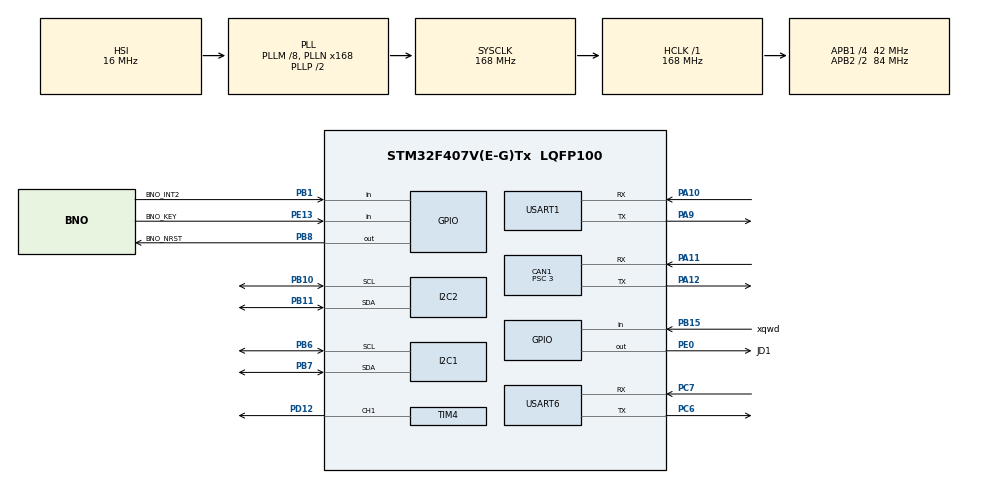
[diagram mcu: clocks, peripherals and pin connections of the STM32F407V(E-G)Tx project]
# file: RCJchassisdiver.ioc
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CAN1.BS1=CAN_BS1_11TQ
CAN1.BS2=CAN_BS2_2TQ
CAN1.CalculateBaudRate=1000000
CAN1.CalculateTimeBit=1000
CAN1.CalculateTimeQuantum=71.42857142857143
CAN1.Prescaler=3
I2C1.I2C_Mode=I2C_Fast
Mcu.Family=STM32F4
Mcu.Name=STM32F407V(E-G)Tx
Mcu.Package=LQFP100
NVIC.CAN1_RX0_IRQn=true\:0\:0\:false\:false\:true\:true\:true\:true
NVIC.I2C1_ER_IRQn=true\:0\:0\:false\:false\:true\:true\:true\:true
NVIC.I2C1_EV_IRQn=true\:0\:0\:false\:false\:true\:true\:true\:true
NVIC.PriorityGroup=NVIC_PRIORITYGROUP_4
NVIC.USART1_IRQn=true\:0\:0\:false\:false\:true\:true\:true\:true
NVIC.USART6_IRQn=true\:0\:0\:false\:false\:true\:true\:true\:true
PA10.Mode=Asynchronous
PA10.Signal=USART1_RX
PA11.Mode=CAN_Activate
PA11.Signal=CAN1_RX
PA12.Mode=CAN_Activate
PA12.Signal=CAN1_TX
PA13.Mode=Serial_Wire
PA13.Signal=SYS_JTMS-SWDIO
PA14.Mode=Serial_Wire
PA14.Signal=SYS_JTCK-SWCLK
PA9.Mode=Asynchronous
PA9.Signal=USART1_TX
PB1.GPIO_Label=BNO_INT2
PB1.Signal=GPIO_Input
PB10.Mode=I2C
PB10.Signal=I2C2_SCL
PB11.Mode=I2C
PB11.Signal=I2C2_SDA
PB15.GPIO_Label=xqwd
PB15.GPIO_PuPd=GPIO_PULLUP
PB15.Signal=GPIO_Input
PB6.Mode=I2C
PB6.Signal=I2C1_SCL
PB7.Mode=I2C
PB7.Signal=I2C1_SDA
PB8.GPIO_Label=BNO_NRST
PB8.Signal=GPIO_Output
PC6.Mode=Asynchronous
PC6.Signal=USART6_TX
PC7.Mode=Asynchronous
PC7.Signal=USART6_RX
PD12.Signal=S_TIM4_CH1
PE0.GPIO_Label=JD1
PE0.Signal=GPIO_Output
PE13.GPIO_Label=BNO_KEY
PE13.GPIO_PuPd=GPIO_PULLUP
PE13.Signal=GPIO_Input
PH0-OSC_IN.Mode=HSE-External-Oscillator
PH0-OSC_IN.Signal=RCC_OSC_IN
PH1-OSC_OUT.Mode=HSE-External-Oscillator
PH1-OSC_OUT.Signal=RCC_OSC_OUT
ProjectManager.HeapSize=0x200
ProjectManager.StackSize=0x400
ProjectManager.TargetToolchain=CMake
RCC.48MHZClocksFreq_Value=84000000
RCC.AHBFreq_Value=168000000
RCC.APB1CLKDivider=RCC_HCLK_DIV4
RCC.APB1Freq_Value=42000000
RCC.APB1TimFreq_Value=84000000
RCC.APB2CLKDivider=RCC_HCLK_DIV2
RCC.APB2Freq_Value=84000000
RCC.APB2TimFreq_Value=168000000
RCC.CortexFreq_Value=168000000
RCC.HCLKFreq_Value=168000000
RCC.HSE_VALUE=8000000
RCC.HSI_VALUE=16000000
RCC.LSE_VALUE=32768
RCC.PLLM=8
RCC.PLLN=168
RCC.SYSCLKFreq_VALUE=168000000
RCC.SYSCLKSource=RCC_SYSCLKSOURCE_PLLCLK
RCC.VCOOutputFreq_Value=336000000
SH.S_TIM4_CH1.0=TIM4_CH1,PWM Generation1 CH1
TIM4.AutoReloadPreload=TIM_AUTORELOAD_PRELOAD_ENABLE
TIM4.Channel-PWM\ Generation1\ CH1=TIM_CHANNEL_1
TIM4.Period=19999
TIM4.Prescaler=83
USART1.VirtualMode=VM_ASYNC
USART6.VirtualMode=VM_ASYNC
VP_TIM4_VS_ClockSourceINT.Mode=Internal
board=custom

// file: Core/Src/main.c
/* USER CODE BEGIN Header */
/**
  ******************************************************************************
  * @file           : main.c
  * @brief          : Main program body
  ******************************************************************************
  * @attention
  *
  * Copyright (c) 2026 STMicroelectronics.
  * All rights reserved.
  *
  * This software is licensed under terms that can be found in the LICENSE file
  * in the root directory of this software component.
  * If no LICENSE file comes with this software, it is provided AS-IS.
  *
  ******************************************************************************
  */
/* USER CODE END Header */
#include "main.h"
#include "can.h"
#include "i2c.h"
#include "tim.h"
#include "usart.h"
#include "gpio.h"

/* USER CODE BEGIN Includes */
#include "bsp_usart.h"
#include "bsp_bno085.h"
#include "bsp_be1732.h"
#include "bsp_dct.h"
#include "bsp_kick_motor.h"
#include "bsp_motor.h"
#include "bsp_suction_detect.h"
#include "bsp_suction_motor.h"
#include "bsp_suction_motor_test.h"
#include "app_chassis_task.h"
#include "app_pi_comm.h"

/* USER CODE END Includes */

/* USER CODE BEGIN PD */
#ifndef MAIN_IMU_PRINT_ENABLE
#define MAIN_IMU_PRINT_ENABLE 0U
#endif

#ifndef MAIN_CHASSIS_YAW_TIMEOUT_MS
#define MAIN_CHASSIS_YAW_TIMEOUT_MS 300U
#endif

#ifndef MAIN_ZERO_KEY_DEBOUNCE_MS
#define MAIN_ZERO_KEY_DEBOUNCE_MS 30U
#endif

#ifndef MAIN_ZERO_KEY_LONG_PRESS_MS
#define MAIN_ZERO_KEY_LONG_PRESS_MS 1000U
#endif

#ifndef MAIN_LOOP_DELAY_MS
#define MAIN_LOOP_DELAY_MS 1U
#endif

#ifndef MAIN_DEBUG_USART
#define MAIN_DEBUG_USART BSP_USART_1
#endif

/* USER CODE END PD */

/* USER CODE BEGIN PV */
Bno085ProductId bno085_product_id;
Bno085RotationVector bno085_rotation_vector;
Bno085SensorData bno085_sensor_data;
Bno085I2cProbeResult bno085_probe_result;
uint8_t bno085_last_header[4];
float bno085_yaw_deg;
float bno085_gyro_z_deg_s;
uint8_t bno085_zero_key_sample;
uint8_t bno085_zero_key_stable;
uint8_t bno085_zero_key_long_handled;
uint8_t bno085_rotation_valid;
uint32_t bno085_last_print_tick;
uint32_t bno085_yaw_update_tick;
uint32_t bno085_gyro_update_tick;
uint32_t bno085_zero_key_debounce_tick;
uint32_t bno085_zero_key_press_tick;

/* USER CODE END PV */

void SystemClock_Config(void);

/* USER CODE BEGIN 0 */
HAL_StatusTypeDef Main_ResetYawZero(void)
{
  uint32_t now = HAL_GetTick();

  if (bno085_rotation_valid == 0U)
  {
    return HAL_BUSY;
  }

  if (Bno085_SetYawZero(&bno085_rotation_vector) != HAL_OK)
  {
    return HAL_ERROR;
  }

  if (Bno085_GetYawDegrees(&bno085_rotation_vector, &bno085_yaw_deg) != HAL_OK)
  {
    return HAL_ERROR;
  }

  bno085_yaw_update_tick = now;
  AppChassisTask_OnYawZero(bno085_yaw_deg);
  Printf(MAIN_DEBUG_USART, "imu_zero:1\n");

  return HAL_OK;
}

static void Main_HandleZeroKey(uint32_t now)
{
  uint8_t zero_key_pressed = Bno085_IsZeroKeyPressed();

  if (zero_key_pressed != bno085_zero_key_sample)
  {
    bno085_zero_key_sample = zero_key_pressed;
    bno085_zero_key_debounce_tick = now;
  }

  if ((now - bno085_zero_key_debounce_tick) < MAIN_ZERO_KEY_DEBOUNCE_MS)
  {
    return;
  }

  if (bno085_zero_key_stable == bno085_zero_key_sample)
  {
    if ((bno085_zero_key_stable != 0U) &&
        (bno085_zero_key_long_handled == 0U) &&
        ((now - bno085_zero_key_press_tick) >= MAIN_ZERO_KEY_LONG_PRESS_MS))
    {
      uint8_t next_enabled = (AppChassisTask_IsMotionEnabled() == 0U) ? 1U : 0U;
      (void)AppChassisTask_SetMotionEnabled(next_enabled);
      bno085_zero_key_long_handled = 1U;
    }
    return;
  }

  bno085_zero_key_stable = bno085_zero_key_sample;
  if (bno085_zero_key_stable != 0U)
  {
    bno085_zero_key_press_tick = now;
    bno085_zero_key_long_handled = 0U;
  }
  else
  {
    if ((bno085_zero_key_long_handled == 0U) &&
        (bno085_rotation_valid != 0U))
    {
      (void)Main_ResetYawZero();
    }
    bno085_zero_key_press_tick = 0U;
    bno085_zero_key_long_handled = 0U;
  }
}

/* USER CODE END 0 */

int main(void)
{

  /* MCU Configuration--------------------------------------------------------*/

  /* Reset of all peripherals, Initializes the Flash interface and the Systick. */
  HAL_Init();

  /* Configure the system clock */
  SystemClock_Config();

  /* Initialize all configured peripherals */
  MX_GPIO_Init();
  MX_CAN1_Init();
  MX_USART1_UART_Init();
  MX_USART6_UART_Init();
  MX_I2C1_Init();
  MX_TIM4_Init();
  MX_I2C2_Init();
  /* USER CODE BEGIN 2 */
  if (BspMotor_Init() != HAL_OK)
  {
    Error_Handler();
  }
  if (BspKickMotor_Init() != HAL_OK)
  {
    Error_Handler();
  }
  if (BspSuctionMotor_Init() != HAL_OK)
  {
    Error_Handler();
  }
  if (BspSuctionDetect_Init() != HAL_OK)
  {
    Error_Handler();
  }
  if (BspBe1732_Init() != HAL_OK)
  {
    Printf(BSP_USART_6, "BE1732 init failed i2cerr=0x%08lX\r\n",
           BspBe1732_GetLastI2cError());
  }
  if (BspDct_Init() != HAL_OK)
  {
    Error_Handler();
  }
  BspSuctionMotorTest_Init();
  AppChassisTask_Init();
  AppPiComm_Init();

  Printf(MAIN_DEBUG_USART, "BNO085 test start\r\n");
  if (Bno085_Init() == HAL_OK)
  {
    if (Bno085_GetProductId(&bno085_product_id) == HAL_OK)
    {
      Printf(MAIN_DEBUG_USART, "BNO085 addr=0x%02X sw=%u.%u.%u build=%lu part=%lu\r\n",
             bno085_product_id.i2c_addr,
             bno085_product_id.sw_major,
             bno085_product_id.sw_minor,
             bno085_product_id.sw_patch,
             bno085_product_id.sw_build_number,
             bno085_product_id.sw_part_number);
    }

    if (Bno085_EnableDefaultReports(10000U) == HAL_OK)
    {
      Printf(MAIN_DEBUG_USART, "BNO085 default reports enabled\r\n");
    }
    else
    {
      Printf(MAIN_DEBUG_USART, "BNO085 enable default reports failed\r\n");
    }
  }
  else
  {
    Bno085_GetI2cProbeResult(&bno085_probe_result);
    Printf(MAIN_DEBUG_USART, "BNO085 init failed addr=0x%02X int=%u err=%u i2cerr=0x%08lX\r\n",
           Bno085_GetI2cAddress(),
           Bno085_GetIntPinLevel(),
           Bno085_GetLastError(),
           Bno085_GetLastHalI2cError());
    Printf(MAIN_DEBUG_USART, "BNO085 probe 0x4B ready=%u err=0x%08lX, 0x4A ready=%u err=0x%08lX\r\n",
           bno085_probe_result.ready_4b,
           bno085_probe_result.error_4b,
           bno085_probe_result.ready_4a,
           bno085_probe_result.error_4a);
    Bno085_GetLastHeader(bno085_last_header);
    Printf(MAIN_DEBUG_USART, "BNO085 last header=%02X %02X %02X %02X len=%u\r\n",
           bno085_last_header[0],
           bno085_last_header[1],
           bno085_last_header[2],
           bno085_last_header[3],
           Bno085_GetLastPacketLength());
  }

  /* USER CODE END 2 */

  /* Infinite loop */
  while (1)
  {

    /* USER CODE BEGIN 3 */
    uint8_t chassis_yaw_valid = 0U;
    uint8_t chassis_gyro_valid = 0U;
    uint32_t now = HAL_GetTick();

    AppPiComm_Task();

    if (Bno085_ReadSensorData(&bno085_sensor_data) == HAL_OK)
    {
      if ((bno085_sensor_data.has_rotation != 0U) &&
          (Bno085_GetYawDegrees(&bno085_sensor_data.rotation, &bno085_yaw_deg) == HAL_OK))
      {
        bno085_rotation_vector = bno085_sensor_data.rotation;
        bno085_rotation_valid = 1U;
        bno085_yaw_update_tick = now;
#if MAIN_IMU_PRINT_ENABLE
        if ((now - bno085_last_print_tick) >= 50U)
        {
          bno085_last_print_tick = now;
          Printf(MAIN_DEBUG_USART,
                 "imu:%.2f,%u,%ld\n",
                 bno085_yaw_deg,
                 bno085_sensor_data.rotation.status,
                 (long)bno085_sensor_data.gyro.z_raw);
        }
#endif
      }

      if (bno085_sensor_data.has_gyro != 0U)
      {
        bno085_gyro_z_deg_s = bno085_sensor_data.gyro.z * 57.2957795f;
        bno085_gyro_update_tick = now;
      }
    }
    Main_HandleZeroKey(now);
    if ((now - bno085_yaw_update_tick) <= MAIN_CHASSIS_YAW_TIMEOUT_MS)
    {
      chassis_yaw_valid = 1U;
    }
    if ((now - bno085_gyro_update_tick) <= MAIN_CHASSIS_YAW_TIMEOUT_MS)
    {
      chassis_gyro_valid = 1U;
    }
    AppChassisTask_Task(chassis_yaw_valid,
                        bno085_yaw_deg,
                        chassis_gyro_valid,
                        bno085_gyro_z_deg_s);
    BspKickMotor_Task();
    BspSuctionMotorTest_Task();
    AppPiComm_Task();
    HAL_Delay(MAIN_LOOP_DELAY_MS);
  }
  /* USER CODE END 3 */
}

void SystemClock_Config(void)
{
  RCC_OscInitTypeDef RCC_OscInitStruct = {0};
  RCC_ClkInitTypeDef RCC_ClkInitStruct = {0};

  /** Configure the main internal regulator output voltage
  */
  __HAL_RCC_PWR_CLK_ENABLE();
  __HAL_PWR_VOLTAGESCALING_CONFIG(PWR_REGULATOR_VOLTAGE_SCALE1);

  /** Initializes the RCC Oscillators according to the specified parameters
  * in the RCC_OscInitTypeDef structure.
  */
  RCC_OscInitStruct.OscillatorType = RCC_OSCILLATORTYPE_HSI;
  RCC_OscInitStruct.HSIState = RCC_HSI_ON;
  RCC_OscInitStruct.HSICalibrationValue = RCC_HSICALIBRATION_DEFAULT;
  RCC_OscInitStruct.PLL.PLLState = RCC_PLL_ON;
  RCC_OscInitStruct.PLL.PLLSource = RCC_PLLSOURCE_HSI;
  RCC_OscInitStruct.PLL.PLLM = 8;
  RCC_OscInitStruct.PLL.PLLN = 168;
  RCC_OscInitStruct.PLL.PLLP = RCC_PLLP_DIV2;
  RCC_OscInitStruct.PLL.PLLQ = 4;
  if (HAL_RCC_OscConfig(&RCC_OscInitStruct) != HAL_OK)
  {
    Error_Handler();
  }

  /** Initializes the CPU, AHB and APB buses clocks
  */
  RCC_ClkInitStruct.ClockType = RCC_CLOCKTYPE_HCLK|RCC_CLOCKTYPE_SYSCLK
                              |RCC_CLOCKTYPE_PCLK1|RCC_CLOCKTYPE_PCLK2;
  RCC_ClkInitStruct.SYSCLKSource = RCC_SYSCLKSOURCE_PLLCLK;
  RCC_ClkInitStruct.AHBCLKDivider = RCC_SYSCLK_DIV1;
  RCC_ClkInitStruct.APB1CLKDivider = RCC_HCLK_DIV4;
  RCC_ClkInitStruct.APB2CLKDivider = RCC_HCLK_DIV2;

  if (HAL_RCC_ClockConfig(&RCC_ClkInitStruct, FLASH_LATENCY_5) != HAL_OK)
  {
    Error_Handler();
  }
}

void Error_Handler(void)
{
  __disable_irq();
  while (1)
  {
  }
}
